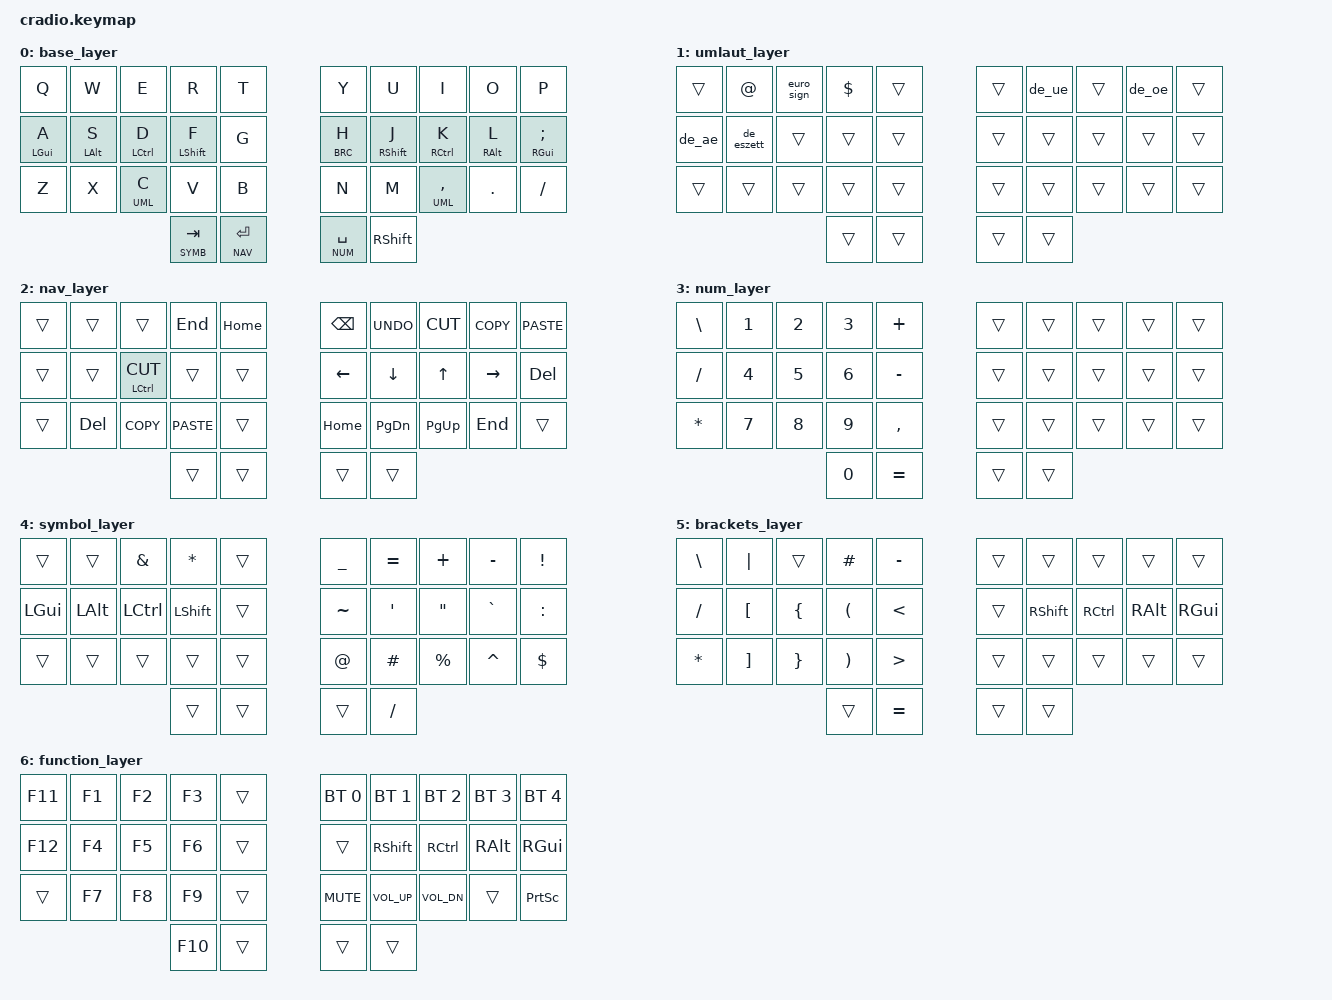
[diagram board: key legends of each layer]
#include <behaviors.dtsi>
#include <dt-bindings/zmk/keys.h>
#include <dt-bindings/zmk/bt.h>

#define HOST_OS 1  // set to 1 for Linux, default is 0 (Windows) used in helper.h for defining compose key in unicode macro

#include "../zmk-nodefree-config/helper.h"
#include "../zmk-nodefree-config/keypos_def/keypos_34keys.h"
#include "../zmk-nodefree-config/international_chars/german.dtsi"

/* layer and key shortcuts */
// key codes can be found here: https://zmk.dev/docs/codes

// transparent key
#define ___ &trans

#define BASE 0  // layer shortcuts, must match order in which they are defined below
#define UML 1 // umlaute
#define NAV 2 // navigation
#define NUM 3 // numerical
#define SYMB 4 // symbols
#define BRC 5 // brackets []{}()<>
#define FUN 6 // F1..F12, bluetooth, media

/* custom behaviors */

// homerow mods
ZMK_BEHAVIOR(hrm, hold_tap,
    flavor = "balanced";
    tapping-term-ms = <500>;
    quick-tap-ms = <125>;
    bindings = <&kp>, <&kp>;
)

// euro sign
ZMK_UNICODE_SINGLE(euro_sign, N2, N0, A, C)  // €

// combos
#undef COMBO_TERM
#define COMBO_TERM 40  // timeout of 40ms (default is 30ms if omitted)
ZMK_COMBO(combo_capsword,  &caps_word,  LM1 RM1, BASE)  // f + j, capsWord active on base layer
ZMK_COMBO(combo_esc,  &kp ESC,  LM1 LM2, ALL)  // d + f, Escape active on all layers
ZMK_COMBO(combo_tab,  &kp TAB,  LM2 LM3, ALL)  // s + d, Tab active on all layers
ZMK_COMBO(combo_backspace,  &kp BSPC,  RM1 RM2, ALL)  // j + k, Backspace active on all layers
ZMK_COMBO(combo_return,  &kp RET,  RM2 RM3, ALL)  // k + l, Return active on all layers
ZMK_COMBO(combo_clear_bluetooth,  &bt BT_CLR,  RT0 RT4, FUN)  // y + p, clear all bluetooth profiles on function layer
ZMK_COMBO(combo_fun_layer,  &mo FUN,  RH0 RH1, BASE)  // RH0 + RH1, trigger FUN layer on base layer

/* keymaps */
ZMK_LAYER(base_layer,
     // ╭─────────────┬─────────────┬─────────────┬─────────────┬─────────────╮   ╭─────────────┬─────────────┬─────────────┬─────────────┬─────────────╮
          &kp Q         &kp W         &kp E         &kp R         &kp T             &kp Y         &kp U         &kp I         &kp O         &kp P
     // ├─────────────┼─────────────┼─────────────┼─────────────┼─────────────┤   ├─────────────┼─────────────┼─────────────┼─────────────┼─────────────┤
          &hrm LGUI A   &hrm LALT S   &hrm LCTRL D  &hrm LSHFT F  &kp G             &lt BRC H     &hrm RSHFT J  &hrm RCTRL K  &hrm RALT L   &hrm RGUI SEMI
     // ├─────────────┼─────────────┼─────────────┼─────────────┼─────────────┤   ├─────────────┼─────────────┼─────────────┼─────────────┼─────────────┤
          &kp Z         &kp X         &lt UML C     &kp V         &kp B             &kp N         &kp M        &lt UML COMMA  &kp DOT       &kp FSLH
     // ╰─────────────┴─────────────┴─────────────┼─────────────┼─────────────┤   ├─────────────┼─────────────┼─────────────┴─────────────┴─────────────╯
                                                   &lt SYMB TAB   &lt NAV RET      &lt NUM SPACE  &kp RSHFT
     //                                           ╰─────────────┴─────────────╯   ╰─────────────┴─────────────╯
)

ZMK_LAYER(umlaut_layer,
     // ╭─────────────┬─────────────┬─────────────┬─────────────┬─────────────╮   ╭─────────────┬─────────────┬─────────────┬─────────────┬─────────────╮
          ___           &kp AT_SIGN   &euro_sign    &kp DOLLAR    ___               ___            &de_ue        ___           &de_oe       ___
     // ├─────────────┼─────────────┼─────────────┼─────────────┼─────────────┤   ├─────────────┼─────────────┼─────────────┼─────────────┼─────────────┤
          &de_ae        &de_eszett    ___           ___           ___               ___           ___           ___           ___           ___
     // ├─────────────┼─────────────┼─────────────┼─────────────┼─────────────┤   ├─────────────┼─────────────┼─────────────┼─────────────┼─────────────┤
          ___           ___           ___           ___           ___               ___           ___           ___           ___           ___
     // ╰─────────────┴─────────────┴─────────────┼─────────────┼─────────────┤   ├─────────────┼─────────────┼─────────────┴─────────────┴─────────────╯
                                                    ___           ___               ___           ___
     //                                           ╰─────────────┴─────────────╯   ╰─────────────┴─────────────╯
)

ZMK_LAYER(nav_layer,
     // ╭─────────────┬─────────────┬─────────────┬─────────────┬─────────────╮   ╭─────────────┬─────────────┬─────────────┬─────────────┬─────────────╮
          ___           ___           ___           &kp END       &kp HOME          &kp BSPC      &kp K_UNDO    &kp K_CUT     &kp K_COPY    &kp K_PASTE
     // ├─────────────┼─────────────┼─────────────┼─────────────┼─────────────┤   ├─────────────┼─────────────┼─────────────┼─────────────┼─────────────┤
          ___           ___          &hrm LCTRL K_CUT  ___        ___               &kp LEFT      &kp DOWN      &kp UP        &kp RIGHT     &kp DEL
     // ├─────────────┼─────────────┼─────────────┼─────────────┼─────────────┤   ├─────────────┼─────────────┼─────────────┼─────────────┼─────────────┤
          ___           &kp DEL       &kp K_COPY    &kp K_PASTE  ___               &kp HOME      &kp PG_DN     &kp PG_UP       &kp END     ___
     // ╰─────────────┴─────────────┴─────────────┼─────────────┼─────────────┤   ├─────────────┼─────────────┼─────────────┴─────────────┴─────────────╯
                                                    ___           ___               ___           ___
     //                                           ╰─────────────┴─────────────╯   ╰─────────────┴─────────────╯
)

ZMK_LAYER(num_layer,
     // ╭─────────────┬─────────────┬─────────────┬─────────────┬─────────────╮    ╭─────────────┬─────────────┬─────────────┬─────────────┬─────────────╮
          &kp BSLH      &kp N1        &kp N2        &kp N3        &kp PLUS         ___           ___              ___           ___           ___
     // ├─────────────┼─────────────┼─────────────┼─────────────┼─────────────┤    ├─────────────┼─────────────┼─────────────┼─────────────┼─────────────┤
          &kp SLASH     &kp N4        &kp N5        &kp N6        &kp MINUS        ___           ___              ___           ___           ___
     // ├─────────────┼─────────────┼─────────────┼─────────────┼─────────────┤    ├─────────────┼─────────────┼─────────────┼─────────────┼─────────────┤
          &kp STAR      &kp N7        &kp N8        &kp N9        &kp COMMA       ___           ___              ___           ___           ___
     // ╰─────────────┼─────────────┼─────────────┼─────────────┼─────────────┤    ├─────────────┴─────────────┴─────────────┴─────────────┴─────────────╯
                                                    &kp N0        &kp EQUAL        ___           ___
     //                                           ╰─────────────┴─────────────╯    ╰─────────────┴─────────────╯
)

ZMK_LAYER(symbol_layer,
     // ╭─────────────┬─────────────┬─────────────┬─────────────┬─────────────╮   ╭─────────────┬─────────────┬─────────────┬─────────────┬─────────────╮
          ___            ___          &kp AMPS      &kp STAR      ___               &kp UNDER     &kp EQUAL     &kp PLUS       &kp MINUS     &kp EXCL
     // ├─────────────┼─────────────┼─────────────┼─────────────┼─────────────┤   ├─────────────┼─────────────┼─────────────┼─────────────┼─────────────┤
         &kp LGUI      &kp LALT       &kp LCTRL     &kp LSHFT      ___              &kp TILDE     &kp SQT        &kp DQT        &kp GRAVE     &kp COLON
     // ├─────────────┼─────────────┼─────────────┼─────────────┼─────────────┤   ├─────────────┼─────────────┼─────────────┼─────────────┼─────────────┤
          ___           ___           ___           ___           ___               &kp AT_SIGN   &kp HASH       &kp PRCNT      &kp CARET     &kp DOLLAR
     // ╰─────────────┼─────────────┼─────────────┼─────────────┼─────────────┤   ├─────────────┴─────────────┴─────────────┴─────────────┴─────────────╯
                                                    ___           ___               ___           &kp SLASH
     //                                           ╰─────────────┴─────────────╯   ╰─────────────┴─────────────╯
)

ZMK_LAYER(brackets_layer,
     // ╭─────────────┬─────────────┬─────────────┬─────────────┬─────────────╮   ╭─────────────┬─────────────┬─────────────┬─────────────┬─────────────╮
          &kp BSLH       &kp PIPE      ___           &kp HASH      &kp MINUS        ___            ___           ___           ___           ___
     // ├─────────────┼─────────────┼─────────────┼─────────────┼─────────────┤   ├─────────────┼─────────────┼─────────────┼─────────────┼─────────────┤
          &kp SLASH      &kp LBKT      &kp LBRC      &kp LPAR       &kp LT           ___          &kp RSHFT     &kp RCTRL     &kp RALT      &kp RGUI
     // ├─────────────┼─────────────┼─────────────┼─────────────┼─────────────┤   ├─────────────┼─────────────┼─────────────┼─────────────┼─────────────┤
          &kp STAR       &kp RBKT      &kp RBRC      &kp RPAR       &kp GT           ___           ___           ___           ___          ___
     // ╰─────────────┼─────────────┼─────────────┼─────────────┼─────────────┤   ├─────────────┴─────────────┴─────────────┴─────────────┴─────────────╯
                                                    ___           &kp EQUAL          ___           ___
     //                                           ╰─────────────┴─────────────╯   ╰─────────────┴─────────────╯
)

ZMK_LAYER(function_layer,
     // ╭─────────────┬──────────────┬────────────┬─────────────┬────────────╮   ╭──────────────┬──────────────┬───────────────┬──────────────┬─────────────╮
          &kp F11       &kp F1         &kp F2       &kp F3        ___              &bt BT_SEL 0   &bt BT_SEL 1   &bt BT_SEL 2    &bt BT_SEL 3   &bt BT_SEL 4
     // ├─────────────┼──────────────┼────────────┼─────────────┼────────────┤   ├──────────────┼──────────────┼───────────────┼──────────────┼─────────────┤
          &kp F12       &kp F4         &kp F5       &kp F6        ___                ___          &kp RSHFT      &kp RCTRL       &kp RALT       &kp RGUI
     // ├─────────────┼──────────────┼────────────┼─────────────┼────────────┤   ├──────────────┼──────────────┼───────────────┼──────────────┼─────────────┤
           ___          &kp F7         &kp F8       &kp F9        ___              &kp C_MUTE     &kp C_VOL_UP   &kp C_VOL_DN    ___            &kp PSCRN
     // ╰─────────────┼──────────────┼────────────┼─────────────┼────────────┤   ├──────────────┼──────────────┼───────────────┼──────────────┼─────────────┤
                                                    &kp F10       ___               ___           ___
     //                                           ╰─────────────┴────────────╯   ╰──────────────┴──────────────╯
)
